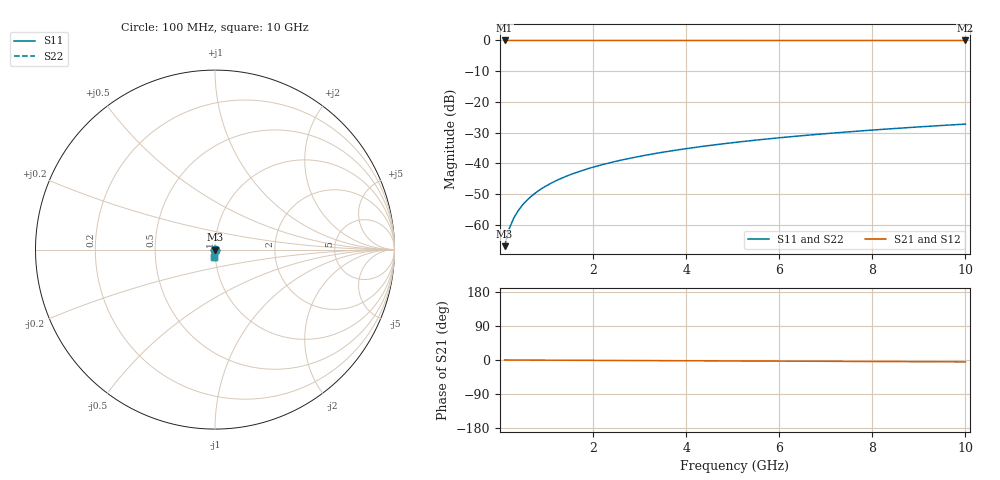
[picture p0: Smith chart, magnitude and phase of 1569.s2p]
# Hz S RI R 50.00
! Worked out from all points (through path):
!   100 points, 100 MHz to 10 GHz, reference 50 ohm
!   highest |S21| = 0.00 dB at 100 MHz (marker M1); lowest = 0.0 dB at 10 GHz (marker M2)
!   lowest |S11| = -66.9 dB at 100 MHz (marker M3), VSWR 1.00, Z = 50 - j0.0434 ohm
!   |S11| at or under -10 dB: start of sweep to end of sweep
!   |S22| runs from -66.9 to -27.2 dB; largest |S21 - S12| = 0
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1e8  0.000124 -0.000434  0.9999 -0.000861  0.9999 -0.000861  0.000124 -0.000434
2e8  0.000123 -0.000868  0.9999 -0.00172  0.9999 -0.00172  0.000123 -0.000868
3e8  0.000121 -0.0013  0.9999 -0.00258  0.9999 -0.00258  0.000121 -0.0013
4e8  0.000119 -0.00174  0.9999 -0.00344  0.9999 -0.00344  0.000119 -0.00174
5e8  0.000115 -0.00217  0.9999 -0.00431  0.9999 -0.00431  0.000115 -0.00217
6e8  0.000111 -0.00261  0.9999 -0.00517  0.9999 -0.00517  0.000111 -0.00261
7e8  0.000106 -0.00304  0.9998 -0.00603  0.9998 -0.00603  0.000106 -0.00304
8e8  9.97e-05 -0.00347  0.9998 -0.00689  0.9998 -0.00689  9.97e-05 -0.00347
9e8  9.3e-05 -0.00391  0.9998 -0.00775  0.9998 -0.00775  9.3e-05 -0.00391
1.1e9  7.74e-05 -0.00478  0.9998 -0.00947  0.9998 -0.00947  7.74e-05 -0.00478
1.4e9  4.82e-05 -0.00608  0.9998 -0.0121  0.9998 -0.0121  4.82e-05 -0.00608
1.8e9  -1.25e-06 -0.00782  0.9997 -0.0155  0.9997 -0.0155  -1.25e-06 -0.00782
2.1e9  -4.63e-05 -0.00912  0.9996 -0.0181  0.9996 -0.0181  -4.63e-05 -0.00912
2.5e9  -0.000117 -0.0109  0.9996 -0.0215  0.9996 -0.0215  -0.000117 -0.0109
2.9e9  -0.0002 -0.0126  0.9995 -0.025  0.9995 -0.025  -0.0002 -0.0126
3.4e9  -0.00032 -0.0148  0.9993 -0.0293  0.9993 -0.0293  -0.00032 -0.0148
4.2e9  -0.000552 -0.0183  0.999 -0.0362  0.999 -0.0362  -0.000552 -0.0183
5.1e9  -0.000871 -0.0222  0.9986 -0.044  0.9986 -0.044  -0.000871 -0.0222
5.9e9  -0.00121 -0.0257  0.9982 -0.0509  0.9982 -0.0509  -0.00121 -0.0257
6.7e9  -0.00159 -0.0291  0.9977 -0.0578  0.9977 -0.0578  -0.00159 -0.0291
8.4e9  -0.00257 -0.0365  0.9965 -0.0725  0.9965 -0.0725  -0.00257 -0.0365
1e10  -0.00369 -0.0435  0.9951 -0.0864  0.9951 -0.0864  -0.00369 -0.0435
